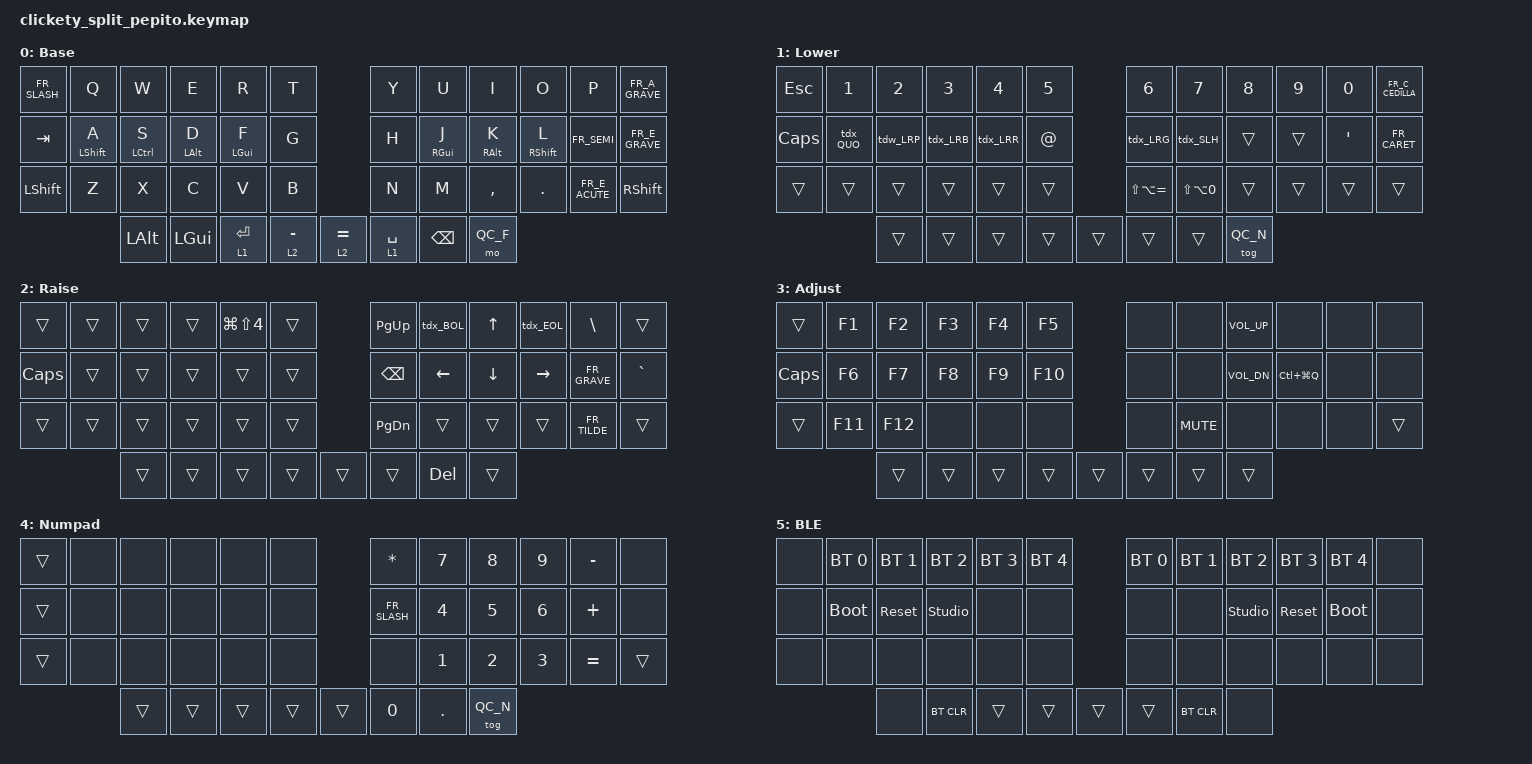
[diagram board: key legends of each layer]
#include <behaviors.dtsi>
#include <dt-bindings/zmk/keys.h>
#include <dt-bindings/zmk/bt.h>
#include "keys_fr_canadian_standard.h"

// Layers
#define QX_M    0       // Main
#define QX_L    1       // Lower
#define QX_R    2       // Raise
#define QX_A    3       // Adjust

#define QC_N    4       // Number Pad
#define QC_F    5       // Firmware

// Short versions
#define OSX_SC  LG(LS(N4))
#define OSX_BOL LG(LEFT)
#define OSX_EOL LG(RIGHT)

#define enDSH_X LS(LA(EQUAL))
#define emDSH_X LS(LA(N0))

#define BOOTLDR     &bootloader
#define SYSRSET     &sys_reset
#define STUDIO      &studio_unlock

#define VOLUP   C_VOL_UP
#define VOLDN   C_VOL_DN
#define VOLMT   C_MUTE

#define LOCK_X  LC(LG(Q))

/ {
    conditional_layers {
        compatible = "zmk,conditional-layers";
        adjust_osx_layer {
            if-layers = <QX_L QX_R>;
            then-layer = <QX_A>;
        };
    };
    
    behaviors {
        // Home row mods: only act as a modifier when the next key is on the
        // other hand (or a thumb), so same-hand rolls always type letters.
        hml: hml {
            compatible = "zmk,behavior-hold-tap";
            #binding-cells = <2>;
            flavor = "balanced";
            tapping-term-ms = <280>;
            quick-tap-ms = <175>;
            require-prior-idle-ms = <150>;
            hold-trigger-key-positions = <6 7 8 9 10 11 18 19 20 21 22 23 30 31 32 33 34 35 36 37 38 39 40 41 42 43>;
            hold-trigger-on-release;
            bindings = <&kp>, <&kp>;
        };

        hmr: hmr {
            compatible = "zmk,behavior-hold-tap";
            #binding-cells = <2>;
            flavor = "balanced";
            tapping-term-ms = <280>;
            quick-tap-ms = <175>;
            require-prior-idle-ms = <150>;
            hold-trigger-key-positions = <0 1 2 3 4 5 12 13 14 15 16 17 24 25 26 27 28 29 36 37 38 39 40 41 42 43>;
            hold-trigger-on-release;
            bindings = <&kp>, <&kp>;
        };
        
        tdx_Q: td1 {
            compatible = "zmk,behavior-tap-dance";
            #binding-cells = <0>;
            tapping-term-ms = <200>;
            bindings = <&kp Q>, <&kp LG(Q)>;
        };

        tdw_LRP: td2 {
            compatible = "zmk,behavior-tap-dance";
            #binding-cells = <0>;
            tapping-term-ms = <200>;
            bindings = <&kp LPAR>, <&kp RPAR>;
        };

        tdx_LRB: td3 {
            compatible = "zmk,behavior-tap-dance";
            #binding-cells = <0>;
            tapping-term-ms = <200>;
            bindings = <&kp FR_LBKT>, <&kp FR_RBKT>;
        };

        tdx_LRR: td4 {
            compatible = "zmk,behavior-tap-dance";
            #binding-cells = <0>;
            tapping-term-ms = <200>;
            bindings = <&kp FR_LBRC>, <&kp FR_RBRC>;
        };

        tdx_QUO: td5 {
            compatible = "zmk,behavior-tap-dance";
            #binding-cells = <0>;
            tapping-term-ms = <200>;
            bindings = <&kp FR_SQT>, <&kp FR_DQT>;
        };

        tdx_BOL: td6 {
            compatible = "zmk,behavior-tap-dance";
            #binding-cells = <0>;
            tapping-term-ms = <200>;
            bindings = <&kp LG(LEFT)>, <&kp HOME>;
        };

        tdx_EOL: td7 {
            compatible = "zmk,behavior-tap-dance";
            #binding-cells = <0>;
            tapping-term-ms = <200>;
            bindings = <&kp LG(RIGHT)>, <&kp END>;
        };

        tdx_LRG: td8 {
            compatible = "zmk,behavior-tap-dance";
            #binding-cells = <0>;
            tapping-term-ms = <200>;
            bindings = <&kp FR_LT>, <&kp FR_GT>;
        };
        tdx_SLH: td9 {
            compatible = "zmk,behavior-tap-dance";
            #binding-cells = <0>;
            tapping-term-ms = <200>;
            bindings = <&kp FR_SLASH>, <&kp FR_BACKSLASH>;
        };
    };
    
    keymap {
        compatible = "zmk,keymap";

        default_layer {
            display-name = " Base";
            bindings = <
&kp FR_SLASH &kp Q         &kp W         &kp E        &kp R        &kp T                    &kp Y    &kp U        &kp I        &kp O         &kp P           &kp FR_A_GRAVE
&kp TAB      &hml LSHFT A  &hml LCTRL S  &hml LALT D  &hml LGUI F  &kp G                    &kp H    &hmr RGUI J  &hmr RALT K  &hmr RSHFT L  &kp FR_SEMI     &kp FR_E_GRAVE
&kp LSHIFT   &kp Z         &kp X         &kp C        &kp V        &kp B                    &kp N    &kp M        &kp COMMA    &kp DOT       &kp FR_E_ACUTE  &kp RSHFT
                                &kp LALT   &kp LGUI   &lt 1 RET  &lt 2 MINUS    &lt 2 EQUAL &lt 1 SPACE  &kp BSPC   &mo QC_F
            >;
        };

        lower_osx_layer {
            display-name = " Lower";
            bindings = <
&kp ESC    &kp N1     &kp N2     &kp N3     &kp N4     &kp N5                           &kp N6      &kp N7      &kp N8     &kp N9     &kp N0     &kp FR_C_CEDILLA
&kp CAPS   &tdx_QUO   &tdw_LRP   &tdx_LRB   &tdx_LRR   &kp AT_SIGN                      &tdx_LRG      &tdx_SLH      &trans     &trans     &kp QUOT   &kp FR_CARET
&trans     &trans     &trans     &trans     &trans     &trans                           &kp enDSH_X &kp emDSH_X &trans     &trans     &trans     &trans
                                 &trans     &trans     &trans     &trans      &trans    &trans      &trans     &tog QC_N
            >;
        };

        raise_osx_layer {
            display-name = " Raise";
            bindings = <
&trans     &trans     &trans     &trans     &kp OSX_SC &trans                           &kp PG_UP  &tdx_BOL   &kp UP     &tdx_EOL   &kp BSLH       &trans
&kp CAPS   &trans     &trans     &trans     &trans     &trans                           &kp BSPC   &kp LEFT   &kp DOWN   &kp RIGHT  &kp FR_GRAVE      &kp GRAVE
&trans     &trans     &trans     &trans     &trans     &trans                           &kp PG_DN      &trans     &trans     &trans     &kp FR_TILDE      &trans
                                 &trans     &trans     &trans     &trans      &trans    &trans     &kp DEL    &trans
            >;
        };

        adjust_osx_layer {
            display-name = " Adjust";
            bindings = <
&trans     &kp F1     &kp F2     &kp F3     &kp F4     &kp F5                           &none      &none      &kp VOLUP  &none      &none      &none
&kp CAPS   &kp F6     &kp F7     &kp F8     &kp F9     &kp F10                          &none      &none      &kp VOLDN  &kp LOCK_X &none      &none 
&trans     &kp F11    &kp F12    &none      &none      &none                            &none      &kp VOLMT  &none      &none      &none      &trans
                                 &trans     &trans     &trans     &trans      &trans    &trans     &trans     &trans
            >;
        };

        numpad_layer {
            display-name = "Numpad";
            bindings = <
&trans     &none     &none      &none      &none      &none                            &kp ASTRK  &kp N7     &kp N8     &kp N9     &kp MINUS  &none 
&trans     &none     &none      &none      &none      &none                            &kp FR_SLASH &kp N4     &kp N5     &kp N6     &kp PLUS   &none 
&trans     &none     &none      &none      &none      &none                            &none      &kp N1     &kp N2     &kp N3     &kp EQUAL  &trans
                                &trans     &trans     &trans     &trans      &trans    &kp N0     &kp DOT    &tog QC_N
            >;
        };

        firmware_layer {
            display-name = " BLE";
            bindings = <
&none      &bt BT_SEL 0     &bt BT_SEL 1  &bt BT_SEL 2    &bt BT_SEL 3    &bt BT_SEL 4                          &bt BT_SEL 0    &bt BT_SEL 1    &bt BT_SEL 2    &bt BT_SEL 3   &bt BT_SEL 4    &none 
&none      BOOTLDR     SYSRSET  STUDIO     &none      &none                            &none      &none      STUDIO     SYSRSET    BOOTLDR    &none
&none      &none       &none    &none      &none      &none                            &none      &none      &none      &none      &none      &none
                                &none      &bt BT_CLR &trans     &trans      &trans    &trans     &bt BT_CLR &none 
            >;
        };

        // Spare layers that ZMK Studio can add at runtime.
        extra1 {
            status = "reserved";
        };

        extra2 {
            status = "reserved";
        };

        extra3 {
            status = "reserved";
        };
    };
};
